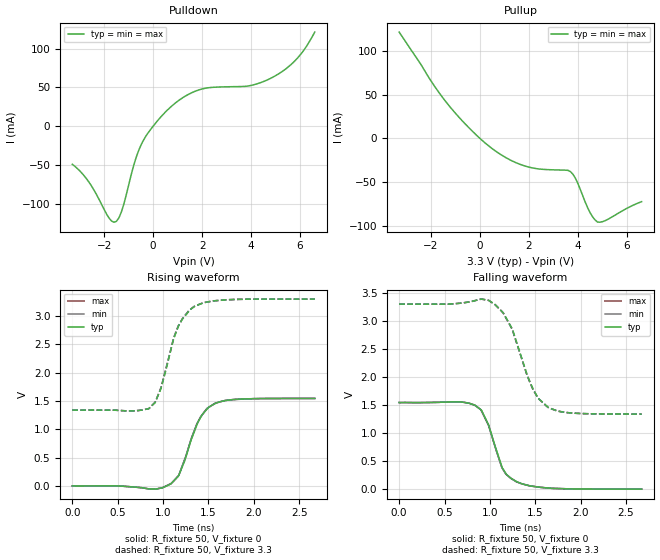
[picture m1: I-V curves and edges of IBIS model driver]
| IBIS file ex2_fast_5ps_tr10ps.ibs created by PYS2IBIS3
| Missouri S&T EMC Lab
[IBIS Ver] 7.1
[File Name] ex2_fast_5ps_tr10ps.ibs
[File Rev] 1.0
[Date] July 28, 2026
[Source] ex2 buffer.sp characterized with s2ibispy and HSPICE
[Notes] Parameter selection; sim_time=2.673e-09, tr=tf=1.000e-11.
[Disclaimer] Experimental characterization for pybis observability study.
[Component] MCM Driver 1
[Manufacturer] MegaFLOPS Inc.
[Package]
| variable   typ   min   max
R_pkg 0 NA NA
L_pkg 0H NA NA
C_pkg 0F NA NA
[Pin]  signal_name   model_name   R_pin   L_pin   C_pin
vdd   vdd   POWER
gnd   gnd   GND
| in in dummy
out   out   driver
| End of Component
| Models and submodels in the file (1): driver (Output)
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[Model] driver
Model_type Output
Polarity Non-Inverting
Enable Active-Low
Vinl  = 0.8V
Vinh  = 2V
C_comp 5.0000pF 5.0000pF 5.0000pF
[Temperature Range] 27.0000 27.0000 27.0000
[Voltage Range] 3.3000V 3.3000V 3.3000V
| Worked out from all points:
|   slope of the pulldown table from 0 to 0.495 V, typ, clamps not added: 27.4 ohm
|   slope of the pullup table from 0 to 0.495 V, typ, clamps not added: 42.7 ohm
|   rising waveform, R_fixture 50, V_fixture 0: 20-80 % time 218ps typ, 220ps min, 220ps max; typ from 0 V to 1.54 V
|   rising waveform, R_fixture 50, V_fixture 3.3: 20-80 % time 220ps typ, 220ps min, 220ps max; typ from 1.34 V to 3.3 V
|   falling waveform, R_fixture 50, V_fixture 0: 20-80 % time 205ps typ, 205ps min, 205ps max; typ from 1.54 V to 0 V
|   falling waveform, R_fixture 50, V_fixture 3.3: 20-80 % time 265ps typ, 265ps min, 265ps max; typ from 3.3 V to 1.34 V
[Pulldown]
| Voltage   I(typ)   I(min)   I(max)
-3.3V     -48.93mA   -48.93mA   -48.93mA
-2.6V     -72.86mA   -72.86mA   -72.86mA
-1.8V     -118.2mA   -118.2mA   -118.2mA
-1.5V     -122.5mA   -122.5mA   -122.5mA
-1.3V     -110.9mA   -110.9mA   -110.9mA
-500mV    -24.59mA   -24.59mA   -24.59mA
600mV     21.34mA    21.34mA    21.34mA
1.9V      47.12mA    47.12mA    47.12mA
3.9V      51.99mA    51.99mA    51.99mA
4.9V      63.38mA    63.38mA    63.38mA
5.9V      87.99mA    87.99mA    87.99mA
6.6V      121.3mA    121.3mA    121.3mA
[Pullup]
| Voltage   I(typ)   I(min)   I(max)
-3.3V     122mA      122mA      122mA
-1.9V     61.75mA    61.75mA    61.75mA
-1.3V     38.86mA    38.86mA    38.86mA
-200mV    5.278mA    5.278mA    5.278mA
700mV     -15.75mA   -15.75mA   -15.75mA
2V        -32.92mA   -32.92mA   -32.92mA
3.7V      -38.24mA   -38.24mA   -38.24mA
3.9V      -45.89mA   -45.89mA   -45.89mA
4.5V      -85.43mA   -85.43mA   -85.43mA
4.8V      -95.97mA   -95.97mA   -95.97mA
5.1V      -94.48mA   -94.48mA   -94.48mA
6.6V      -72.53mA   -72.53mA   -72.53mA
[Ramp]
| variable   typ   min   max
dV/dt_r 0.9270/0.2178n 0.9270/0.2195n 0.9270/0.2195n
dV/dt_f 1.1766/0.265n 1.1766/0.2652n 1.1766/0.2652n
R_load = 50
[Rising Waveform]
R_fixture = 50
V_fixture = 0
|time   V(typ)   V(min)   V(max)
0s        7.302nV    7.302nV    7.302nV
995.2ps   -33.2mV    -31.81mV   -31.81mV
1.092ns   44.07mV    43.8mV     43.8mV
1.169ns   169.6mV    178.6mV    178.6mV
1.239ns   438.7mV    458.7mV    458.7mV
1.383ns   1.121V     1.125V     1.125V
1.485ns   1.356V     1.368V     1.368V
1.57ns    1.45V      1.457V     1.457V
1.827ns   1.532V     1.531V     1.531V
2.673ns   1.545V     1.545V     1.545V
[Rising Waveform]
R_fixture = 50
V_fixture = 3.3
|time   V(typ)   V(min)   V(max)
0s        1.338V     1.338V     1.338V
848.1ps   1.374V     1.37V      1.37V
912.3ps   1.468V     1.478V     1.478V
976.5ps   1.714V     1.728V     1.728V
1.118ns   2.601V     2.616V     2.616V
1.166ns   2.81V      2.818V     2.818V
1.284ns   3.081V     3.094V     3.094V
1.364ns   3.185V     3.184V     3.184V
1.661ns   3.284V     3.284V     3.284V
2.673ns   3.3V       3.3V       3.3V
[Falling Waveform]
R_fixture = 50
V_fixture = 0
|time   V(typ)   V(min)   V(max)
0s        1.545V     1.545V     1.545V
684.9ps   1.555V     1.555V     1.555V
837.4ps   1.496V     1.493V     1.493V
906.9ps   1.409V     1.399V     1.399V
981.8ps   1.16V      1.153V     1.153V
1.129ns   409.7mV    394.7mV    394.7mV
1.183ns   263.9mV    260.5mV    260.5mV
1.34ns    102.9mV    101mV      101mV
1.669ns   15.18mV    15.1mV     15.1mV
2.673ns   80.7uV     78.21uV    78.21uV
[Falling Waveform]
R_fixture = 50
V_fixture = 3.3
|time   V(typ)   V(min)   V(max)
0s        3.3V       3.3V       3.3V
987.2ps   3.367V     3.365V     3.365V
1.153ns   3.133V     3.124V     3.124V
1.249ns   2.848V     2.835V     2.835V
1.41ns    2.044V     2.03V      2.03V
1.469ns   1.809V     1.799V     1.799V
1.536ns   1.616V     1.615V     1.615V
1.637ns   1.468V     1.461V     1.461V
1.916ns   1.356V     1.356V     1.356V
2.673ns   1.339V     1.339V     1.339V
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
